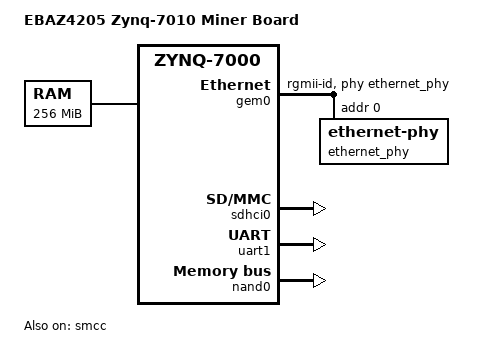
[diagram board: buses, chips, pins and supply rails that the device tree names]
// SPDX-License-Identifier: GPL-2.0+
/*
 *  Copyright (C) 2011 - 2015 Xilinx
 *  Copyright (C) 2012 National Instruments Corp.
 */
/dts-v1/;
#include "zynq-7000.dtsi"

/ {
	model = "EBAZ4205 Zynq-7010 Miner Board";
	compatible = "ebaz4205,zynq-ebaz4205", "xlnx,zynq-7000";

	aliases {
		serial0 = &uart1;
		spi0 = &qspi;
		mmc0 = &sdhci0;
	};

	memory@0 {
		device_type = "memory";
		reg = <0x0 0x10000000>;
	};

	chosen {
		bootargs = "";
		stdout-path = "serial0:115200n8";
	};
	/*	usb_phy0: phy0 {
		#phy-cells = <0>;
		compatible = "usb-nop-xceiv";
		reset-gpios = <&gpio0 46 1>;
	};	*/
};

&clkc {
	ps-clk-frequency = <33333333>;
};

&gem0 {
	status = "okay";
	phy-mode = "rgmii-id";
	phy-handle = <&ethernet_phy>;

	ethernet_phy: ethernet-phy@0 {
		reg = <0>;
		device_type = "ethernet-phy";
	};
};

&sdhci0 {
	u-boot,dm-pre-reloc;
	status = "okay";
};

&uart1 {
	u-boot,dm-pre-reloc;
	status = "okay";
};
/*
&qspi {
	u-boot,dm-pre-reloc;
	status = "okay";
};

&usb0 {
	status = "okay";
	dr_mode = "host";
	usb-phy = <&usb_phy0>;
};
*/

&nand0 {
	status = "okay";
	arm,nand-cycle-t0 = <0x4>;
	arm,nand-cycle-t1 = <0x4>;
	arm,nand-cycle-t2 = <0x1>;
	arm,nand-cycle-t3 = <0x2>;
	arm,nand-cycle-t4 = <0x2>;
	arm,nand-cycle-t5 = <0x2>;
	arm,nand-cycle-t6 = <0x4>;

	/*
		https://blog.csdn.net/zhys2007/article/details/106175366
		9 ofpart partitions found on MTD device pl35x-nand
		Creating 9 MTD partitions on "pl35x-nand":
		0x000000000000-0x000000300000 : "nand-fsbl-uboot"
		0x000000300000-0x000000800000 : "nand-linux"
		0x000000800000-0x000000820000 : "nand-device-tree"
		0x000000820000-0x000001220000 : "nand-rootfs"
		0x000001220000-0x000002220000 : "nand-jffs2"
		0x000002220000-0x000002a20000 : "nand-bitstream"
		0x000002a20000-0x000006a20000 : "nand-allrootfs"
		0x000006a20000-0x000007e00000 : "nand-release"
		0x000007e00000-0x000008000000 : "nand-reserve"
	*/

	partition@0 {
		label = "nand-fsbl-uboot";
		reg = <0x0 0x300000>;			/* 3MB */
	};
	partition@300000 {
		label = "nand-linux";
		reg = <0x300000 0x500000>;		/* 5MB */
	};
	partition@800000 {
		label = "nand-device-tree";
		reg = <0x800000 0x20000>;		/* 128kB */
	};
	partition@820000 {
		label = "nand-rootfs";
		reg = <0x820000 0xA00000>;		/* 10MB */
	};
	partition@1220000 {
		label = "nand-jffs2";
		reg = <0x1220000 0x1000000>;	/* 16MB */
	};
	partition@2220000 {
		label = "nand-bitstream";
		reg = <0x2220000 0x800000>;		/* 8MB */
	};
	partition@2a20000 {
		label = "nand-allrootfs";
		reg = <0x2a20000 0x4000000>;	/* 64MB */
	};
	partition@6a20000 {
		label = "nand-release";
		reg = <0x6a20000 0x13e0000>;	/* 20MB */
	};
	partition@7e00000 {
		label = "nand-reserve";
		reg = <0x7e00000 0x200000>;		/* 2MB */
	};



};

&smcc {
	status = "okay";
	arm,addr25 = <0x0>;
	arm,nor-chip-sel0 = <0x0>;
	arm,nor-chip-sel1 = <0x0>;
	arm,sram-chip-sel0 = <0x0>;
	arm,sram-chip-sel1 = <0x0>;
};
